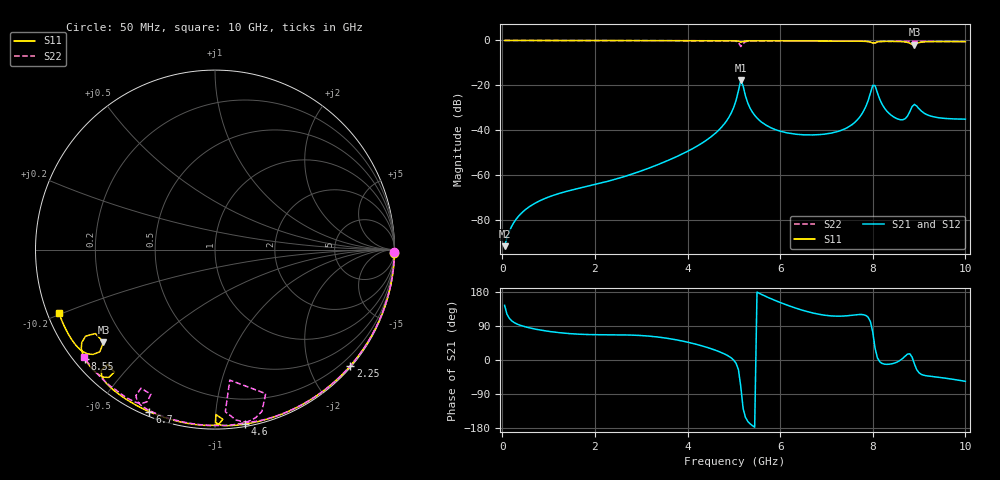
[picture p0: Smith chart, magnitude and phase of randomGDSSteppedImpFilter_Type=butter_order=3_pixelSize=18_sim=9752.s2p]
! freq	dB(S11)	phase(S11)	dB(S12)	phase(S12)
!  dB(S21)	phase(S21)	dB(S22)	phase(S22)
!S-par simulation data
#  GHz  S  DB  R 50
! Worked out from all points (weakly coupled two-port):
!   200 points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, 50 MHz to 10 GHz, reference 50 ohm
!   highest |S21| = -17.71 dB at 5.15 GHz (marker M1); lowest = -91.5 dB at 50 MHz (marker M2)
!   lowest |S11| = -1.9 dB at 8.9 GHz (marker M3), VSWR 9.40, Z = 6.01 - j17.8 ohm
!   |S11| at or under -10 dB: nowhere
!   |S22| runs from -2.7 to 0.0 dB; largest |S21 - S12| = 0
!   S11 on the Smith chart (normalised r, x): 50 MHz: open; 2.25 GHz: 0.02, -2.70; 4.6 GHz: 0.02, -1.19; 6.7 GHz: 0.02, -0.67; 8.55 GHz: 0.03, -0.37; 10 GHz: 0.03, -0.19
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0.05  -0.00 -0.9  -91.46 144.2  -91.46 144.2  -0.00 -0.8
0.9  -0.02 -16.6  -70.43 77.5  -70.43 77.5  -0.02 -14.7
1.75  -0.04 -31.9  -65.26 67.6  -65.26 67.6  -0.04 -28.3
2.25  -0.05 -40.7  -62.76 66.6  -62.76 66.6  -0.05 -36.2
3.4  -0.08 -60.4  -54.87 60.0  -54.87 60.0  -0.07 -53.9
4.6  -0.12 -80.2  -41.29 25.9  -41.29 25.9  -0.11 -72.2
4.9  -0.14 -85.3  -33.91 9.2  -33.91 9.2  -0.16 -77.8
5.05  -0.20 -88.4  -26.50 -9.2  -26.50 -9.2  -0.38 -82.9
5.15  -0.73 -89.6  -17.71 -70.1  -17.71 -70.1  -2.71 -83.5
5.2  -0.48 -87.4  -20.17 -127.8  -20.17 -127.8  -1.41 -70.6
5.35  -0.18 -90.8  -30.06 -168.3  -30.06 -168.3  -0.25 -78.1
5.6  -0.17 -95.1  -36.34 172.9  -36.34 172.9  -0.17 -83.4
6.7  -0.22 -112.0  -42.00 124.2  -42.00 124.2  -0.20 -99.3
7.6  -0.31 -125.9  -36.63 118.8  -36.63 118.8  -0.27 -111.6
7.85  -0.41 -130.6  -29.37 117.5  -29.37 117.5  -0.37 -115.9
8  -1.14 -133.1  -19.96 73.4  -19.96 73.4  -1.16 -118.1
8.35  -0.41 -135.7  -32.38 -11.1  -32.38 -11.1  -0.35 -119.2
8.55  -0.47 -139.8  -34.99 -3.9  -34.99 -3.9  -0.35 -122.1
8.7  -0.67 -143.6  -34.78 10.3  -34.78 10.3  -0.37 -124.1
8.9  -1.86 -140.3  -28.45 -10.7  -28.45 -10.7  -0.38 -126.5
9.25  -0.53 -145.5  -33.61 -43.1  -33.61 -43.1  -0.40 -131.2
10  -0.55 -157.9  -34.98 -56.3  -34.98 -56.3  -0.49 -140.8
